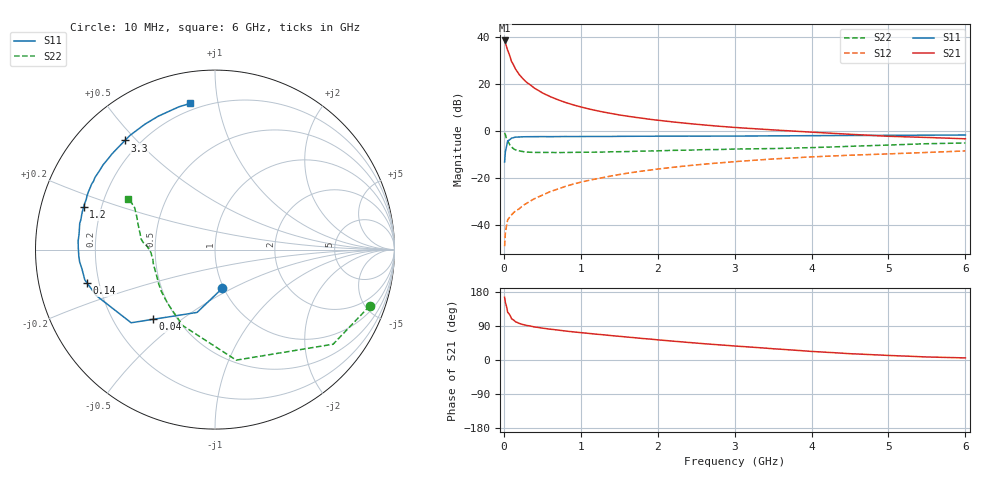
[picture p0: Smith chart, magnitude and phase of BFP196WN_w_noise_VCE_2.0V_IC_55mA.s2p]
! Infineon Technologies  Discrete & RF Semiconductors
! BFP196WN
! VCE =  2.0 V,  IC =  55 mA
! Common Emitter S-Parameters:  Jan 2017
# GHz  S  MA  R  50
!  f  S11  S21  S12  S22
! GHz  MAG  ANG  MAG  ANG  MAG  ANG  MAG  ANG
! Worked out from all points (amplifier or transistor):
!   77 points, 10 MHz to 6 GHz, reference 50 ohm
!   highest |S21| = 38.5 dB at 10 MHz (marker M1)
!   |S21| within 3 dB of that: start of sweep to 38.18 MHz
!   unconditionally stable (mu >= 1): 549.7 MHz to 2.856 GHz
!   at 130 MHz: K = 0.60, MSG = 31.2 dB, |S12| = -34.6 dB
!   at 2.2 GHz: K = 1.02, MAG = 8.7 dB, |S12| = -15.4 dB
!   at 6 GHz: K = 0.94, MSG = 2.6 dB, |S12| = -8.4 dB
!   lowest NFmin = 1.34 dB at 450 MHz
!   S11 on the Smith chart (normalised r, x): 10 MHz: 0.98, -0.45; 40 MHz: 0.37, -0.40; 140 MHz: 0.15, -0.13; 1.2 GHz: 0.13, +0.16; 3.3 GHz: 0.14, +0.46; 6 GHz: 0.16, +0.83
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0.01  0.2201 -79.6  84.11 165.7  0.0036 81.5  0.9173 -20.0
0.02  0.3637 -105.9  75.08 151.7  0.0068 68.3  0.8432 -38.7
0.04  0.5193 -131.6  58.18 136.6  0.0108 53.4  0.6579 -63.0
0.05  0.6201 -138.9  51.94 125.8  0.013 49.5  0.6272 -79.1
0.1  0.7093 -158.8  30.19 108.8  0.0166 48.0  0.4599 -113.0
0.14  0.7366 -165.3  22.79 103.2  0.0194 48.7  0.4082 -127.2
0.15  0.7448 -166.9  20.99 101.2  0.0201 48.8  0.3998 -131.2
0.2  0.7489 -171.7  15.92 96.6  0.0224 54.9  0.3791 -142.0
0.25  0.7572 -174.8  12.81 93.4  0.0264 57.4  0.3671 -148.7
0.3  0.7597 -177.3  10.74 91.1  0.0295 60.1  0.3583 -154.2
0.4  0.7622 178.8  8.108 87.1  0.0368 64.2  0.3531 -160.5
0.5  0.7639 176.2  6.491 84.1  0.0435 66.0  0.3525 -165.0
0.7  0.764 171.5  4.646 79.1  0.0587 68.5  0.3502 -170.6
0.9  0.7657 167.2  3.613 74.3  0.0747 68.8  0.3537 -173.8
1.1  0.769 163.7  2.972 70.3  0.0896 68.6  0.356 -176.5
1.2  0.7695 162.0  2.729 68.2  0.0966 68.2  0.3569 -177.4
2.1  0.7794 147.4  1.633 51.5  0.1632 62.3  0.3854 176.4
3.1  0.785 132.3  1.167 35.6  0.2304 53.6  0.4177 171.1
3.3  0.7882 129.5  1.112 32.8  0.2431 51.8  0.4218 169.7
4.1  0.801 118.1  0.93 21.5  0.288 44.7  0.4513 161.7
5.1  0.8136 107.4  0.767 11.2  0.3329 37.0  0.5123 152.0
6  0.8264 99.6  0.686 5.5  0.3791 31.0  0.5595 149.8
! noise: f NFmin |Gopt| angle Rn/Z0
0.45  1.34  0.54  -177  0.05
0.9  1.44  0.57  -170  0.06
1.9  2.36  0.69  -147  0.17
2.4  3.11  0.7  -140  0.29
